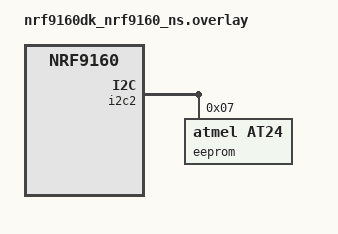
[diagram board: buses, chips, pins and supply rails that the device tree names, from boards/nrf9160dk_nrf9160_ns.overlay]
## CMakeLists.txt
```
#
# Copyright (c) 2019 Nordic Semiconductor
#
# SPDX-License-Identifier: LicenseRef-Nordic-5-Clause
#

cmake_minimum_required(VERSION 3.20.0)

find_package(Zephyr REQUIRED HINTS $ENV{ZEPHYR_BASE})
project(nrf-conn-bridge-client)

# NORDIC SDK APP START
target_sources(app PRIVATE src/main.c)
# NORDIC SDK APP END
```

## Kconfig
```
#
# Copyright (c) 2019 Nordic Semiconductor ASA
#
# SPDX-License-Identifier: LicenseRef-Nordic-5-Clause
#

menu "Zephyr Kernel"
source "Kconfig.zephyr"
endmenu
```

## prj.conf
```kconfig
#
# Copyright (c) 2019 Nordic Semiconductor ASA
#
# SPDX-License-Identifier: LicenseRef-Nordic-5-Clause
#
# General config
CONFIG_HEAP_MEM_POOL_SIZE=4096
CONFIG_NEWLIB_LIBC=y

# Main thread
CONFIG_MAIN_STACK_SIZE=4096

CONFIG_I2C=y

CONFIG_LOG=y
CONFIG_LOG_BACKEND_UART=y
CONFIG_LOG_BUFFER_SIZE=4096

CONFIG_EEPROM=y
CONFIG_EEPROM_AT24=y
CONFIG_CONN_BRIDGE_CONTROL_CLIENT=y
```

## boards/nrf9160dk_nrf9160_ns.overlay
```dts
/*
 * Copyright (c) 2021 Nordic Semiconductor ASA
 *
 * SPDX-License-Identifier: LicenseRef-Nordic-5-Clause
 */


&i2c2 {
	eeprom: at24@7 {
		compatible = "atmel,at24";
		status = "okay";
		size = <256>;
		pagesize = <256>;
		address-width = < 16 >;
		timeout = < 100 >;
		reg = <0x7>;
	};
};
```

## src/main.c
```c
/*
 * Copyright (c) 2019 Nordic Semiconductor ASA
 *
 * SPDX-License-Identifier: LicenseRef-Nordic-5-Clause
 */

#include <stdio.h>
#include <string.h>

#include <zephyr/device.h>
#include <zephyr/kernel.h>

#include <conn_bridge_control/control_client.h>


int main(void)
{
	int err;

	printk("Connectivity Bridge Control Client\n");
	
	const struct device *eeprom = DEVICE_DT_GET(DT_NODELABEL(eeprom));
	if (!device_is_ready(eeprom)) {
		printk("\nError: Device \"%s\" is not ready; "
		       "check the driver initialization logs for errors.\n",
		       eeprom->name);
		return -1;
	}
	conn_bridge_control_client_init(eeprom);
	
	bool attached = false;
	while(true) {
		k_msleep(1000);
		err = conn_bridge_control_get_usb_attached(&attached);
		if(err) {
			printk("Error while fetching attached status: %d\n", err);
			continue;
		}
		printk("USB attached: %d\n", attached);
	}

	return 0;
}
```
